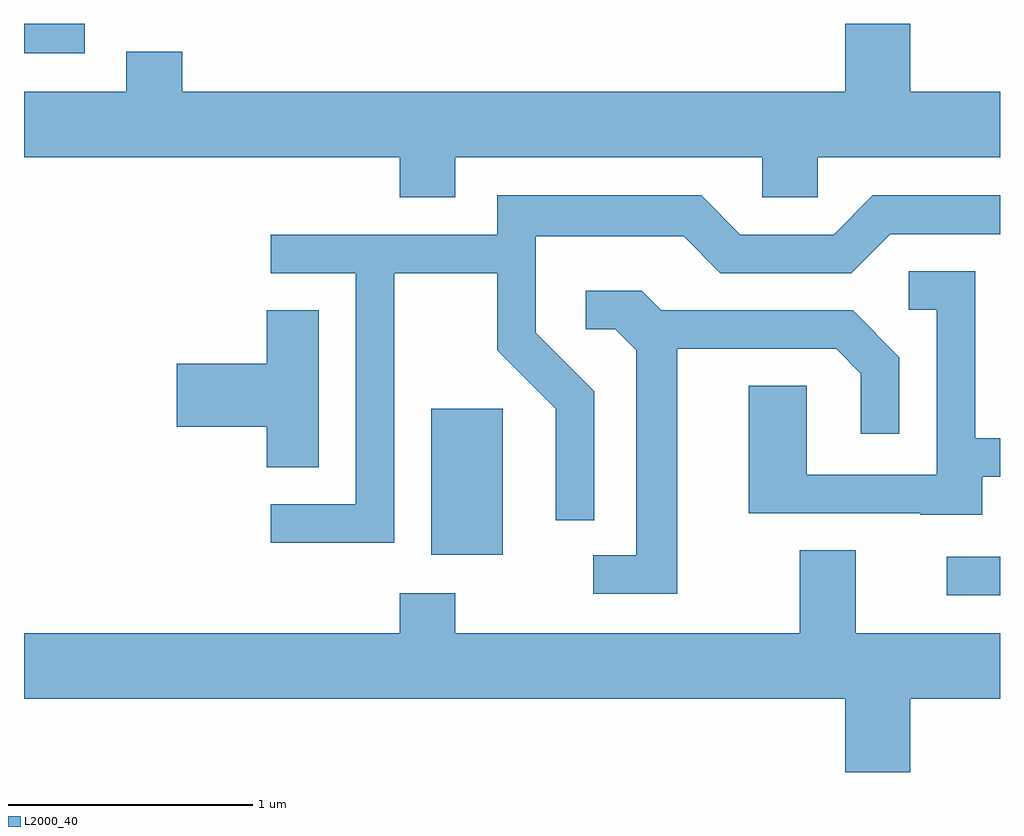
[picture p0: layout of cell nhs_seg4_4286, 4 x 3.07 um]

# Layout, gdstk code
import gdstk
lib = gdstk.Library(unit=1e-6, precision=1e-09)
def R(c, l, rs):  # rectangles x0, y0, x1, y1
    for r in rs: c.add(gdstk.rectangle(r[:2], r[2:], *l))
def P(c, l, *ps):  # polygons
    for p in ps: c.add(gdstk.Polygon(p, *l))
L2000_40 = (2000, 40)

nhs_seg4_4286 = lib.new_cell('nhs_seg4_4286')
R(nhs_seg4_4286, L2000_40, [(315.393,1259.641,315.611,1259.799), (313.281,1259.806,313.574,1260.404), (311.611,1261.861,311.859,1261.982)])
P(nhs_seg4_4286, L2000_40, [(315.611,1261.704),(315.244,1261.704),(315.244,1261.982),(314.976,1261.982),(314.976,1261.704),(312.259,1261.704),(312.259,1261.869),(312.031,1261.869),(312.031,1261.704),(311.611,1261.704),(311.611,1261.436),(313.151,1261.436),(313.151,1261.271),(313.379,1261.271),(313.379,1261.436),(314.636,1261.436),(314.636,1261.271),(314.864,1261.271),(314.864,1261.436),(315.611,1261.436)],
  [(313.129,1260.961),(313.551,1260.961),(313.551,1260.644),(313.791,1260.404),(313.791,1259.948),(313.949,1259.948),(313.949,1260.477),(313.709,1260.717),(313.709,1261.111),(314.314,1261.111),(314.464,1260.961),(315.002,1260.961),(315.162,1261.121),(315.611,1261.121),(315.611,1261.279),(315.089,1261.279),(314.929,1261.119),(314.547,1261.119),(314.387,1261.279),(313.551,1261.279),(313.551,1261.119),(312.623,1261.119),(312.623,1260.961),(312.971,1260.961),(312.971,1260.014),(312.623,1260.014),(312.623,1259.856),(313.129,1259.856)],
  [(315.539,1260.126),(315.611,1260.126),(315.611,1260.284),(315.509,1260.284),(315.509,1260.969),(315.238,1260.969),(315.238,1260.811),(315.351,1260.811),(315.351,1260.134),(314.819,1260.134),(314.819,1260.499),(314.581,1260.499),(314.581,1259.976),(315.285,1259.976),(315.285,1259.971),(315.539,1259.971)],
  [(314.289,1260.651),(314.939,1260.651),(315.041,1260.549),(315.041,1260.303),(315.199,1260.303),(315.199,1260.617),(315.007,1260.809),(314.222,1260.809),(314.142,1260.889),(313.913,1260.889),(313.913,1260.731),(314.034,1260.731),(314.121,1260.644),(314.121,1259.804),(313.943,1259.804),(313.943,1259.646),(314.289,1259.646)],
  [(312.819,1260.809),(312.606,1260.809),(312.606,1260.589),(312.236,1260.589),(312.236,1260.331),(312.606,1260.331),(312.606,1260.166),(312.819,1260.166)],
  [(315.244,1259.216),(315.611,1259.216),(315.611,1259.484),(315.019,1259.484),(315.019,1259.824),(314.791,1259.824),(314.791,1259.484),(313.379,1259.484),(313.379,1259.649),(313.151,1259.649),(313.151,1259.484),(311.611,1259.484),(311.611,1259.216),(314.976,1259.216),(314.976,1258.916),(315.244,1258.916)])

lib.write_gds('nhs_seg4_4286.gds')
